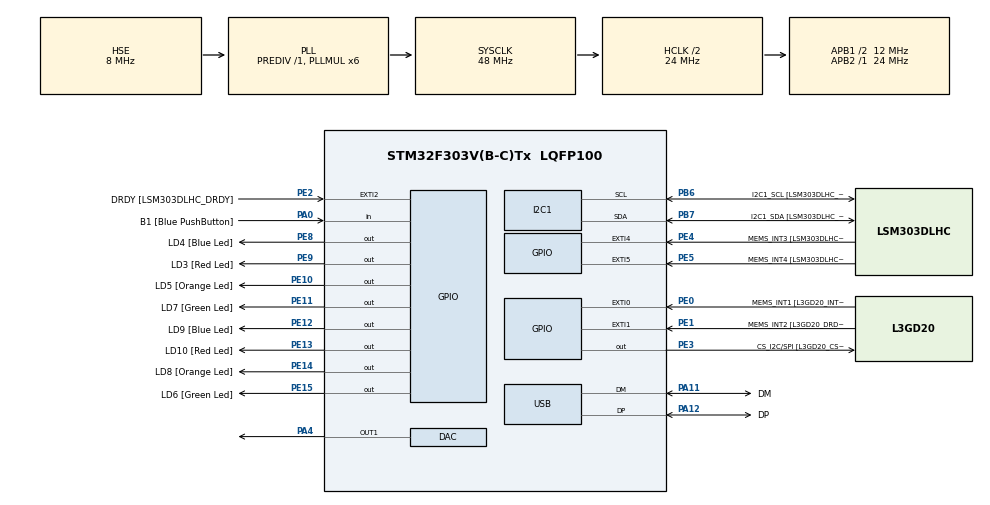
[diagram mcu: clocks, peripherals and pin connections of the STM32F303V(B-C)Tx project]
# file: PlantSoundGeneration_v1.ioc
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DAC.DAC_Trigger=DAC_TRIGGER_T3_TRGO
Dma.DAC_CH1.0.Direction=DMA_MEMORY_TO_PERIPH
Dma.DAC_CH1.0.Instance=DMA1_Channel3
Dma.DAC_CH1.0.MemDataAlignment=DMA_MDATAALIGN_WORD
Dma.DAC_CH1.0.MemInc=DMA_MINC_ENABLE
Dma.DAC_CH1.0.Mode=DMA_CIRCULAR
Dma.DAC_CH1.0.PeriphDataAlignment=DMA_PDATAALIGN_WORD
Dma.DAC_CH1.0.PeriphInc=DMA_PINC_DISABLE
Dma.DAC_CH1.0.Priority=DMA_PRIORITY_LOW
Dma.Request0=DAC_CH1
I2C1.Timing-I2C=0x2000090E
Mcu.Family=STM32F3
Mcu.Name=STM32F303V(B-C)Tx
Mcu.Package=LQFP100
NVIC.DMA1_Channel3_IRQn=true\:0\:0\:false\:false\:true\:false\:true\:true
NVIC.PriorityGroup=NVIC_PRIORITYGROUP_0
NVIC.TIM3_IRQn=true\:0\:0\:false\:false\:true\:true\:true\:true
PA0.GPIO_Label=B1 [Blue PushButton]
PA0.Signal=GPIO_Input
PA11.GPIO_Label=DM
PA11.Mode=Device
PA11.Signal=USB_DM
PA12.GPIO_Label=DP
PA12.Mode=Device
PA12.Signal=USB_DP
PA13.GPIO_Label=SWDIO
PA13.Mode=Serial_Wire
PA13.Signal=SYS_JTMS-SWDIO
PA14.GPIO_Label=SWCLK
PA14.Mode=Serial_Wire
PA14.Signal=SYS_JTCK-SWCLK
PA4.Signal=COMP_DAC1_group
PA5.Signal=COMP_DAC2_group
PA6.GPIO_Label=SPI1_MISO [L3GD20_SA0/SDO]
PA6.Signal=SPI1_MISO
PA7.GPIO_Label=SPI1_MISO [L3GD20_SDA/SDI/SDO]
PA7.Signal=SPI1_MOSI
PB3.GPIO_Label=SWO
PB3.Signal=SYS_JTDO-TRACESWO
PB6.GPIO_Label=I2C1_SCL [LSM303DLHC_SCL]
PB6.GPIO_Pu=GPIO_PULLUP
PB6.Mode=I2C
PB6.Signal=I2C1_SCL
PB7.GPIO_Label=I2C1_SDA [LSM303DLHC_SDA]
PB7.GPIO_Pu=GPIO_PULLUP
PB7.Mode=I2C
PB7.Signal=I2C1_SDA
PC14-OSC32_IN.GPIO_Label=OSC32_IN
PC14-OSC32_IN.Signal=RCC_OSC32_IN
PC15-OSC32_OUT.GPIO_Label=OSC32_OUT
PC15-OSC32_OUT.Signal=RCC_OSC32_OUT
PE0.GPIO_Label=MEMS_INT1 [L3GD20_INT1]
PE0.GPIO_ModeDefaultEXTI=GPIO_MODE_EVT_RISING
PE0.Signal=GPXTI0
PE1.GPIO_Label=MEMS_INT2 [L3GD20_DRDY/INT2]
PE1.GPIO_ModeDefaultEXTI=GPIO_MODE_EVT_RISING
PE1.Signal=GPXTI1
PE10.GPIO_Label=LD5 [Orange Led]
PE10.Signal=GPIO_Output
PE11.GPIO_Label=LD7 [Green Led]
PE11.Signal=GPIO_Output
PE12.GPIO_Label=LD9 [Blue Led]
PE12.Signal=GPIO_Output
PE13.GPIO_Label=LD10 [Red Led]
PE13.Signal=GPIO_Output
PE14.GPIO_Label=LD8 [Orange Led]
PE14.Signal=GPIO_Output
PE15.GPIO_Label=LD6 [Green Led]
PE15.Signal=GPIO_Output
PE2.GPIO_Label=DRDY [LSM303DLHC_DRDY]
PE2.GPIO_ModeDefaultEXTI=GPIO_MODE_EVT_RISING
PE2.Signal=GPXTI2
PE3.GPIO_Label=CS_I2C/SPI [L3GD20_CS_I2C/SPI]
PE3.Signal=GPIO_Output
PE4.GPIO_Label=MEMS_INT3 [LSM303DLHC_INT1]
PE4.GPIO_ModeDefaultEXTI=GPIO_MODE_EVT_RISING
PE4.Signal=GPXTI4
PE5.GPIO_Label=MEMS_INT4 [LSM303DLHC_INT2]
PE5.GPIO_ModeDefaultEXTI=GPIO_MODE_EVT_RISING
PE5.Signal=GPXTI5
PE8.GPIO_Label=LD4 [Blue Led]
PE8.Signal=GPIO_Output
PE9.GPIO_Label=LD3 [Red Led]
PE9.Signal=GPIO_Output
PF0-OSC_IN.GPIO_Label=OSC_IN
PF0-OSC_IN.Mode=HSE-External-Clock-Source
PF0-OSC_IN.Signal=RCC_OSC_IN
PF1-OSC_OUT.GPIO_Label=OSC_OUT
PF1-OSC_OUT.Signal=RCC_OSC_OUT
ProjectManager.HeapSize=0x200
ProjectManager.StackSize=0x400
ProjectManager.TargetToolchain=STM32CubeIDE
RCC.AHBCLKDivider=RCC_SYSCLK_DIV2
RCC.AHBFreq_Value=24000000
RCC.APB1CLKDivider=RCC_HCLK_DIV2
RCC.APB1Freq_Value=12000000
RCC.APB1TimFreq_Value=24000000
RCC.APB2Freq_Value=24000000
RCC.APB2TimFreq_Value=24000000
RCC.CortexFreq_Value=24000000
RCC.HCLKFreq_Value=24000000
RCC.HSE_VALUE=8000000
RCC.HSI_VALUE=8000000
RCC.LSE_VALUE=32768
RCC.PLLMUL=RCC_PLL_MUL6
RCC.SYSCLKFreq_VALUE=48000000
RCC.SYSCLKSourceVirtual=RCC_SYSCLKSOURCE_PLLCLK
RCC.USBFreq_Value=48000000
SH.COMP_DAC1_group.0=DAC_OUT1,DAC_OUT1
SH.COMP_DAC2_group.0=DAC_OUT2
TIM3.Period=47
TIM3.Prescaler=0
TIM3.TIM_MasterOutputTrigger=TIM_TRGO_UPDATE
VP_TIM3_VS_ClockSourceINT.Mode=Internal
board=STM32F3DISCOVERY

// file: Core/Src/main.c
/* USER CODE BEGIN Header */
/**
  ******************************************************************************
  * @file           : main.c
  * @brief          : Main program body
  ******************************************************************************
  * @attention
  *
  * Copyright (c) 2024 STMicroelectronics.
  * All rights reserved.
  *
  * This software is licensed under terms that can be found in the LICENSE file
  * in the root directory of this software component.
  * If no LICENSE file comes with this software, it is provided AS-IS.
  *
  ******************************************************************************
  */
/* USER CODE END Header */
#include "main.h"

/* USER CODE BEGIN Includes */
#include "math.h"
#include "audio_data.h"
/* USER CODE END Includes */

DAC_HandleTypeDef hdac;
DMA_HandleTypeDef hdma_dac_ch1;

I2C_HandleTypeDef hi2c1;

TIM_HandleTypeDef htim3;

PCD_HandleTypeDef hpcd_USB_FS;

void SystemClock_Config(void);
static void MX_GPIO_Init(void);
static void MX_DMA_Init(void);
static void MX_I2C1_Init(void);
static void MX_USB_PCD_Init(void);
static void MX_DAC_Init(void);
static void MX_TIM3_Init(void);

/* USER CODE BEGIN 0 */
#define PI 3.14159265

float voltage = 1;
uint32_t dacin;
int nbsample = 10; // (sample rate 500k) / (freq of sin wave)
uint32_t sinval[10];
GPIO_PinState B_state = GPIO_PIN_RESET;
int audio_size = 1001;
/* USER CODE END 0 */

int main(void)
{

  /* MCU Configuration--------------------------------------------------------*/

  /* Reset of all peripherals, Initializes the Flash interface and the Systick. */
  HAL_Init();

  /* Configure the system clock */
  SystemClock_Config();

  /* Initialize all configured peripherals */
  MX_GPIO_Init();
  MX_DMA_Init();
  MX_I2C1_Init();
  MX_USB_PCD_Init();
  MX_DAC_Init();
  MX_TIM3_Init();
  /* USER CODE BEGIN 2 */
  HAL_DAC_Start(&hdac, DAC_CHANNEL_1);
  /* USER CODE END 2 */

  /* Infinite loop */
  /* USER CODE BEGIN WHILE */
  //dacin = voltage * 4095/3.0;

  // Compute the sine wave
  //for (int i = 0; i < nbsample; i++)
  //{
  //  sinval[i] = (sin(2 * PI * i / nbsample) + 1) * (4095/2);  // Scale the sine wave to 0-4095 (12 bits)
  //}

  HAL_TIM_Base_Start(&htim3);
  //HAL_DAC_Start_DMA(&hdac, DAC_CHANNEL_1, sinval, nbsample, DAC_ALIGN_12B_R);

  //#define B1_Pin GPIO_PIN_0
  //#define B1_GPIO_Port GPIOA
  while (1)
  {
	  B_state = HAL_GPIO_ReadPin(B1_GPIO_Port, B1_Pin);
	  if (B_state == GPIO_PIN_SET) {

			HAL_Delay(1000);
			//HAL_GPIO_TogglePin(LD4_GPIO_Port, LD4_Pin);
			HAL_GPIO_WritePin(LD4_GPIO_Port, LD4_Pin, GPIO_PIN_SET);
			for (int i = 0; i<audio_size; i++){
				HAL_DAC_SetValue(&hdac, DAC_CHANNEL_1, DAC_ALIGN_12B_R, audio_data[i]);
			}
			HAL_Delay(1000);
			HAL_GPIO_WritePin(LD4_GPIO_Port, LD4_Pin, GPIO_PIN_RESET);
	      // The pin is on
	  } else if (B_state == GPIO_PIN_RESET) {
	      // The pin is off
	  }

    /* USER CODE END WHILE */

  }
}

void SystemClock_Config(void)
{
  RCC_OscInitTypeDef RCC_OscInitStruct = {0};
  RCC_ClkInitTypeDef RCC_ClkInitStruct = {0};
  RCC_PeriphCLKInitTypeDef PeriphClkInit = {0};

  /** Initializes the RCC Oscillators according to the specified parameters
  * in the RCC_OscInitTypeDef structure.
  */
  RCC_OscInitStruct.OscillatorType = RCC_OSCILLATORTYPE_HSI|RCC_OSCILLATORTYPE_HSE;
  RCC_OscInitStruct.HSEState = RCC_HSE_BYPASS;
  RCC_OscInitStruct.HSEPredivValue = RCC_HSE_PREDIV_DIV1;
  RCC_OscInitStruct.HSIState = RCC_HSI_ON;
  RCC_OscInitStruct.HSICalibrationValue = RCC_HSICALIBRATION_DEFAULT;
  RCC_OscInitStruct.PLL.PLLState = RCC_PLL_ON;
  RCC_OscInitStruct.PLL.PLLSource = RCC_PLLSOURCE_HSE;
  RCC_OscInitStruct.PLL.PLLMUL = RCC_PLL_MUL6;
  if (HAL_RCC_OscConfig(&RCC_OscInitStruct) != HAL_OK)
  {
    Error_Handler();
  }

  /** Initializes the CPU, AHB and APB buses clocks
  */
  RCC_ClkInitStruct.ClockType = RCC_CLOCKTYPE_HCLK|RCC_CLOCKTYPE_SYSCLK
                              |RCC_CLOCKTYPE_PCLK1|RCC_CLOCKTYPE_PCLK2;
  RCC_ClkInitStruct.SYSCLKSource = RCC_SYSCLKSOURCE_PLLCLK;
  RCC_ClkInitStruct.AHBCLKDivider = RCC_SYSCLK_DIV2;
  RCC_ClkInitStruct.APB1CLKDivider = RCC_HCLK_DIV2;
  RCC_ClkInitStruct.APB2CLKDivider = RCC_HCLK_DIV1;

  if (HAL_RCC_ClockConfig(&RCC_ClkInitStruct, FLASH_LATENCY_0) != HAL_OK)
  {
    Error_Handler();
  }
  PeriphClkInit.PeriphClockSelection = RCC_PERIPHCLK_USB|RCC_PERIPHCLK_I2C1;
  PeriphClkInit.I2c1ClockSelection = RCC_I2C1CLKSOURCE_HSI;
  PeriphClkInit.USBClockSelection = RCC_USBCLKSOURCE_PLL;
  if (HAL_RCCEx_PeriphCLKConfig(&PeriphClkInit) != HAL_OK)
  {
    Error_Handler();
  }
}

static void MX_DAC_Init(void)
{

  DAC_ChannelConfTypeDef sConfig = {0};

  /** DAC Initialization
  */
  hdac.Instance = DAC;
  if (HAL_DAC_Init(&hdac) != HAL_OK)
  {
    Error_Handler();
  }

  /** DAC channel OUT1 config
  */
  sConfig.DAC_Trigger = DAC_TRIGGER_T3_TRGO;
  sConfig.DAC_OutputBuffer = DAC_OUTPUTBUFFER_ENABLE;
  if (HAL_DAC_ConfigChannel(&hdac, &sConfig, DAC_CHANNEL_1) != HAL_OK)
  {
    Error_Handler();
  }
  __HAL_REMAPTRIGGER_ENABLE(HAL_REMAPTRIGGER_DAC1_TRIG);

}

static void MX_I2C1_Init(void)
{

  hi2c1.Instance = I2C1;
  hi2c1.Init.Timing = 0x2000090E;
  hi2c1.Init.OwnAddress1 = 0;
  hi2c1.Init.AddressingMode = I2C_ADDRESSINGMODE_7BIT;
  hi2c1.Init.DualAddressMode = I2C_DUALADDRESS_DISABLE;
  hi2c1.Init.OwnAddress2 = 0;
  hi2c1.Init.OwnAddress2Masks = I2C_OA2_NOMASK;
  hi2c1.Init.GeneralCallMode = I2C_GENERALCALL_DISABLE;
  hi2c1.Init.NoStretchMode = I2C_NOSTRETCH_DISABLE;
  if (HAL_I2C_Init(&hi2c1) != HAL_OK)
  {
    Error_Handler();
  }

  /** Configure Analogue filter
  */
  if (HAL_I2CEx_ConfigAnalogFilter(&hi2c1, I2C_ANALOGFILTER_ENABLE) != HAL_OK)
  {
    Error_Handler();
  }

  /** Configure Digital filter
  */
  if (HAL_I2CEx_ConfigDigitalFilter(&hi2c1, 0) != HAL_OK)
  {
    Error_Handler();
  }

}

static void MX_TIM3_Init(void)
{

  TIM_ClockConfigTypeDef sClockSourceConfig = {0};
  TIM_MasterConfigTypeDef sMasterConfig = {0};

  htim3.Instance = TIM3;
  htim3.Init.Prescaler = 0;
  htim3.Init.CounterMode = TIM_COUNTERMODE_UP;
  htim3.Init.Period = 47;
  htim3.Init.ClockDivision = TIM_CLOCKDIVISION_DIV1;
  htim3.Init.AutoReloadPreload = TIM_AUTORELOAD_PRELOAD_DISABLE;
  if (HAL_TIM_Base_Init(&htim3) != HAL_OK)
  {
    Error_Handler();
  }
  sClockSourceConfig.ClockSource = TIM_CLOCKSOURCE_INTERNAL;
  if (HAL_TIM_ConfigClockSource(&htim3, &sClockSourceConfig) != HAL_OK)
  {
    Error_Handler();
  }
  sMasterConfig.MasterOutputTrigger = TIM_TRGO_UPDATE;
  sMasterConfig.MasterSlaveMode = TIM_MASTERSLAVEMODE_DISABLE;
  if (HAL_TIMEx_MasterConfigSynchronization(&htim3, &sMasterConfig) != HAL_OK)
  {
    Error_Handler();
  }

}

static void MX_USB_PCD_Init(void)
{

  hpcd_USB_FS.Instance = USB;
  hpcd_USB_FS.Init.dev_endpoints = 8;
  hpcd_USB_FS.Init.speed = PCD_SPEED_FULL;
  hpcd_USB_FS.Init.phy_itface = PCD_PHY_EMBEDDED;
  hpcd_USB_FS.Init.low_power_enable = DISABLE;
  hpcd_USB_FS.Init.battery_charging_enable = DISABLE;
  if (HAL_PCD_Init(&hpcd_USB_FS) != HAL_OK)
  {
    Error_Handler();
  }

}

static void MX_DMA_Init(void)
{

  /* DMA controller clock enable */
  __HAL_RCC_DMA1_CLK_ENABLE();

  /* DMA interrupt init */
  /* DMA1_Channel3_IRQn interrupt configuration */
  HAL_NVIC_SetPriority(DMA1_Channel3_IRQn, 0, 0);
  HAL_NVIC_EnableIRQ(DMA1_Channel3_IRQn);

}

static void MX_GPIO_Init(void)
{
  GPIO_InitTypeDef GPIO_InitStruct = {0};

  /* GPIO Ports Clock Enable */
  __HAL_RCC_GPIOE_CLK_ENABLE();
  __HAL_RCC_GPIOC_CLK_ENABLE();
  __HAL_RCC_GPIOF_CLK_ENABLE();
  __HAL_RCC_GPIOA_CLK_ENABLE();
  __HAL_RCC_GPIOB_CLK_ENABLE();

  /*Configure GPIO pin Output Level */
  HAL_GPIO_WritePin(GPIOE, CS_I2C_SPI_Pin|LD4_Pin|LD3_Pin|LD5_Pin
                          |LD7_Pin|LD9_Pin|LD10_Pin|LD8_Pin
                          |LD6_Pin, GPIO_PIN_RESET);

  /*Configure GPIO pins : DRDY_Pin MEMS_INT3_Pin MEMS_INT4_Pin MEMS_INT1_Pin
                           MEMS_INT2_Pin */
  GPIO_InitStruct.Pin = DRDY_Pin|MEMS_INT3_Pin|MEMS_INT4_Pin|MEMS_INT1_Pin
                          |MEMS_INT2_Pin;
  GPIO_InitStruct.Mode = GPIO_MODE_EVT_RISING;
  GPIO_InitStruct.Pull = GPIO_NOPULL;
  HAL_GPIO_Init(GPIOE, &GPIO_InitStruct);

  /*Configure GPIO pins : CS_I2C_SPI_Pin LD4_Pin LD3_Pin LD5_Pin
                           LD7_Pin LD9_Pin LD10_Pin LD8_Pin
                           LD6_Pin */
  GPIO_InitStruct.Pin = CS_I2C_SPI_Pin|LD4_Pin|LD3_Pin|LD5_Pin
                          |LD7_Pin|LD9_Pin|LD10_Pin|LD8_Pin
                          |LD6_Pin;
  GPIO_InitStruct.Mode = GPIO_MODE_OUTPUT_PP;
  GPIO_InitStruct.Pull = GPIO_NOPULL;
  GPIO_InitStruct.Speed = GPIO_SPEED_FREQ_LOW;
  HAL_GPIO_Init(GPIOE, &GPIO_InitStruct);

  /*Configure GPIO pin : B1_Pin */
  GPIO_InitStruct.Pin = B1_Pin;
  GPIO_InitStruct.Mode = GPIO_MODE_INPUT;
  GPIO_InitStruct.Pull = GPIO_NOPULL;
  HAL_GPIO_Init(B1_GPIO_Port, &GPIO_InitStruct);

  /*Configure GPIO pins : SPI1_MISO_Pin SPI1_MISOA7_Pin */
  GPIO_InitStruct.Pin = SPI1_MISO_Pin|SPI1_MISOA7_Pin;
  GPIO_InitStruct.Mode = GPIO_MODE_AF_PP;
  GPIO_InitStruct.Pull = GPIO_NOPULL;
  GPIO_InitStruct.Speed = GPIO_SPEED_FREQ_HIGH;
  GPIO_InitStruct.Alternate = GPIO_AF5_SPI1;
  HAL_GPIO_Init(GPIOA, &GPIO_InitStruct);

}

void Error_Handler(void)
{
  __disable_irq();
  while (1)
  {
  }
}
